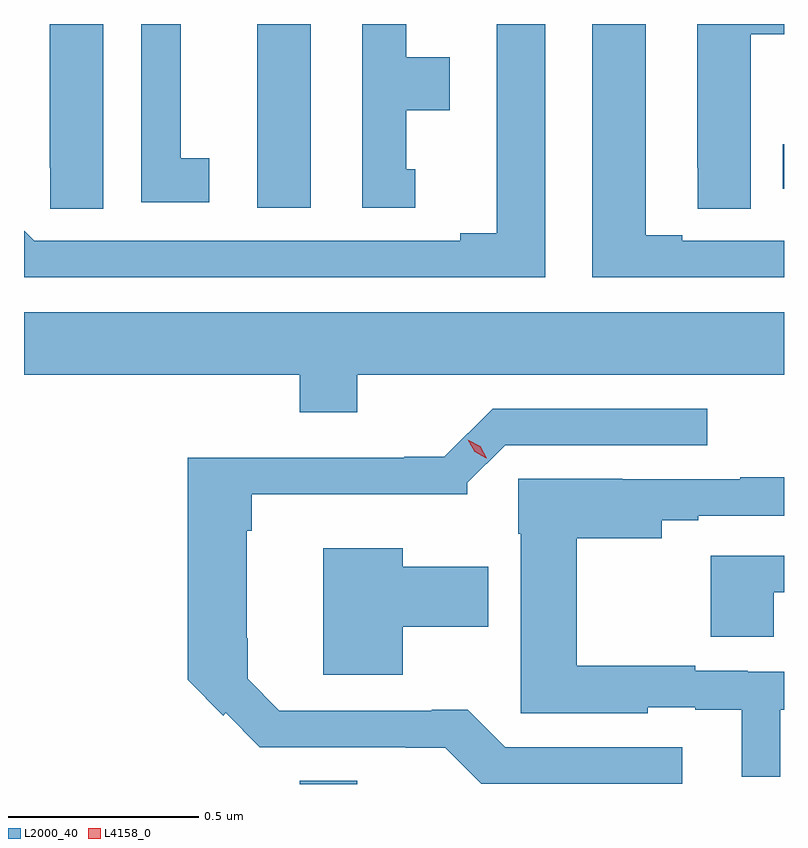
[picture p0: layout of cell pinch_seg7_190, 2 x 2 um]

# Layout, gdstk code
import gdstk
lib = gdstk.Library(unit=1e-6, precision=1e-09)
def R(c, l, rs):  # rectangles x0, y0, x1, y1
    for r in rs: c.add(gdstk.rectangle(r[:2], r[2:], *l))
def P(c, l, *ps):  # polygons
    for p in ps: c.add(gdstk.Polygon(p, *l))
L2000_40 = (2000, 40)
L4158_0 = (4158, 0)

pinch_seg7_190 = lib.new_cell('pinch_seg7_190')
R(pinch_seg7_190, L2000_40, [(1107.827,1002.203,1107.979,1002.211), (1107.716,1003.719,1107.856,1004.203), (1109.099,1003.77,1109.102,1003.887)])
P(pinch_seg7_190, L2000_40, [(1109.014,1004.176),(1109.102,1004.176),(1109.102,1004.203),(1108.874,1004.203),(1108.874,1003.825),(1108.875,1003.825),(1108.875,1003.717),(1109.014,1003.717)],
  [(1107.31,1004.203),(1107.17,1004.203),(1107.17,1003.825),(1107.171,1003.825),(1107.171,1003.717),(1107.31,1003.717)],
  [(1108.132,1003.821),(1108.108,1003.821),(1108.108,1003.976),(1108.222,1003.976),(1108.222,1004.116),(1108.108,1004.116),(1108.108,1004.203),(1107.992,1004.203),(1107.992,1003.719),(1108.132,1003.719)],
  [(1108.474,1004.203),(1108.346,1004.203),(1108.346,1003.652),(1108.25,1003.652),(1108.25,1003.632),(1107.129,1003.632),(1107.102,1003.659),(1107.102,1003.536),(1108.474,1003.536)],
  [(1107.589,1003.85),(1107.514,1003.85),(1107.514,1004.203),(1107.41,1004.203),(1107.41,1003.734),(1107.589,1003.734)],
  [(1109.102,1003.632),(1108.834,1003.632),(1108.834,1003.647),(1108.738,1003.647),(1108.738,1004.203),(1108.598,1004.203),(1108.598,1003.536),(1109.102,1003.536)],
  [(1107.979,1003.28),(1109.102,1003.28),(1109.102,1003.444),(1107.102,1003.444),(1107.102,1003.28),(1107.827,1003.28),(1107.827,1003.181),(1107.979,1003.181)],
  [(1108.834,1002.3),(1108.368,1002.3),(1108.27,1002.399),(1108.175,1002.399),(1108.175,1002.396),(1107.774,1002.396),(1107.691,1002.48),(1107.691,1002.586),(1107.688,1002.586),(1107.688,1002.869),(1107.701,1002.869),(1107.701,1002.965),(1108.269,1002.965),(1108.269,1002.996),(1108.368,1003.095),(1108.9,1003.095),(1108.9,1003.191),(1108.335,1003.191),(1108.208,1003.064),(1108.103,1003.064),(1108.103,1003.062),(1107.533,1003.062),(1107.533,1002.477),(1107.626,1002.383),(1107.633,1002.391),(1107.723,1002.3),(1108.106,1002.3),(1108.106,1002.299),(1108.211,1002.299),(1108.305,1002.204),(1108.834,1002.204)],
  [(1109.092,1002.398),(1109.102,1002.398),(1109.102,1002.498),(1109.006,1002.498),(1109.006,1002.501),(1108.869,1002.501),(1108.869,1002.514),(1108.557,1002.514),(1108.557,1002.85),(1108.78,1002.85),(1108.78,1002.897),(1108.876,1002.897),(1108.876,1002.909),(1109.102,1002.909),(1109.102,1003.01),(1108.987,1003.01),(1108.987,1003.005),(1108.676,1003.005),(1108.676,1003.006),(1108.402,1003.006),(1108.402,1002.861),(1108.409,1002.861),(1108.409,1002.389),(1108.743,1002.389),(1108.743,1002.405),(1108.869,1002.405),(1108.869,1002.398),(1108.991,1002.398),(1108.991,1002.222),(1109.092,1002.222)],
  [(1108.099,1002.617),(1108.324,1002.617),(1108.324,1002.775),(1108.099,1002.775),(1108.099,1002.823),(1107.89,1002.823),(1107.89,1002.491),(1108.099,1002.491)],
  [(1109.075,1002.707),(1109.102,1002.707),(1109.102,1002.804),(1108.909,1002.804),(1108.909,1002.591),(1109.075,1002.591)])
P(pinch_seg7_190, L4158_0, [(1108.319,1003.06),(1108.288,1003.078),(1108.27,1003.109),(1108.27,1003.109),(1108.27,1003.109),(1108.302,1003.092),(1108.32,1003.06),(1108.32,1003.06)])

lib.write_gds('pinch_seg7_190.gds')
